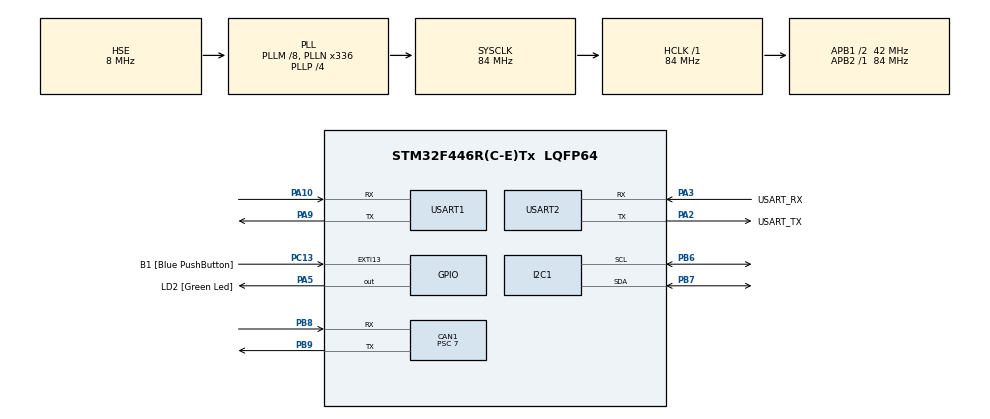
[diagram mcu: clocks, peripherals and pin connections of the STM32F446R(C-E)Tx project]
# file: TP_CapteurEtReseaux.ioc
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CAN1.BS1=CAN_BS1_10TQ
CAN1.BS2=CAN_BS2_1TQ
CAN1.CalculateBaudRate=499999
CAN1.CalculateTimeBit=2000
CAN1.CalculateTimeQuantum=166.66666666666669
CAN1.Prescaler=7
Mcu.Family=STM32F4
Mcu.Name=STM32F446R(C-E)Tx
Mcu.Package=LQFP64
NVIC.PriorityGroup=NVIC_PRIORITYGROUP_0
NVIC.USART2_IRQn=true\:0\:0\:false\:false\:true\:true\:true\:true
PA10.Mode=Asynchronous
PA10.Signal=USART1_RX
PA13.GPIO_Label=TMS
PA13.Mode=Serial_Wire
PA13.Signal=SYS_JTMS-SWDIO
PA14.GPIO_Label=TCK
PA14.Mode=Serial_Wire
PA14.Signal=SYS_JTCK-SWCLK
PA2.GPIO_Label=USART_TX
PA2.Mode=Asynchronous
PA2.Signal=USART2_TX
PA3.GPIO_Label=USART_RX
PA3.Mode=Asynchronous
PA3.Signal=USART2_RX
PA5.GPIO_Label=LD2 [Green Led]
PA5.Signal=GPIO_Output
PA9.Mode=Asynchronous
PA9.Signal=USART1_TX
PB3.GPIO_Label=SWO
PB3.Signal=SYS_JTDO-SWO
PB6.Mode=I2C
PB6.Signal=I2C1_SCL
PB7.Mode=I2C
PB7.Signal=I2C1_SDA
PB8.Mode=CAN_Activate
PB8.Signal=CAN1_RX
PB9.Mode=CAN_Activate
PB9.Signal=CAN1_TX
PC13.GPIO_Label=B1 [Blue PushButton]
PC13.GPIO_ModeDefaultEXTI=GPIO_MODE_IT_FALLING
PC13.Signal=GPXTI13
PC14-OSC32_IN.Mode=LSE-External-Oscillator
PC14-OSC32_IN.Signal=RCC_OSC32_IN
PC15-OSC32_OUT.Mode=LSE-External-Oscillator
PC15-OSC32_OUT.Signal=RCC_OSC32_OUT
PH0-OSC_IN.Mode=HSE-External-Oscillator
PH0-OSC_IN.Signal=RCC_OSC_IN
PH1-OSC_OUT.Mode=HSE-External-Oscillator
PH1-OSC_OUT.Signal=RCC_OSC_OUT
ProjectManager.HeapSize=0x200
ProjectManager.StackSize=0x400
ProjectManager.TargetToolchain=STM32CubeIDE
RCC.48MHZClocksFreq_Value=84000000
RCC.AHBFreq_Value=84000000
RCC.APB1CLKDivider=RCC_HCLK_DIV2
RCC.APB1Freq_Value=42000000
RCC.APB1TimFreq_Value=84000000
RCC.APB2Freq_Value=84000000
RCC.APB2TimFreq_Value=84000000
RCC.CortexFreq_Value=84000000
RCC.FLatency-AdvancedSettings=FLASH_LATENCY_2
RCC.HCLKFreq_Value=84000000
RCC.HSE_VALUE=8000000
RCC.HSI_VALUE=16000000
RCC.PLLM=8
RCC.PLLN=336
RCC.PLLP=RCC_PLLP_DIV4
RCC.PLLSourceVirtual=RCC_PLLSOURCE_HSE
RCC.SYSCLKFreq_VALUE=84000000
RCC.SYSCLKSource=RCC_SYSCLKSOURCE_PLLCLK
RCC.USBFreq_Value=168000000
RCC.VCOOutputFreq_Value=336000000
USART1.VirtualMode=VM_ASYNC
USART2.VirtualMode=VM_ASYNC
board=NUCLEO-F446RE

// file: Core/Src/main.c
/* USER CODE BEGIN Header */
/**
  ******************************************************************************
  * @file           : main.c
  * @brief          : Main program body
  ******************************************************************************
  * @attention
  *
  * Copyright (c) 2023 STMicroelectronics.
  * All rights reserved.
  *
  * This software is licensed under terms that can be found in the LICENSE file
  * in the root directory of this software component.
  * If no LICENSE file comes with this software, it is provided AS-IS.
  *
  ******************************************************************************
  */
/* USER CODE END Header */
#include "main.h"
#include "can.h"
#include "i2c.h"
#include "usart.h"
#include "gpio.h"

/* USER CODE BEGIN Includes */
#include "BMP280/drv_BMP280.h"
#include "shell.h"
#include <stdio.h>
#include "log/logger.h"
#include "motor.h"
/* USER CODE END Includes */

void SystemClock_Config(void);

int main(void)
{

  /* MCU Configuration--------------------------------------------------------*/

  /* Reset of all peripherals, Initializes the Flash interface and the Systick. */
  HAL_Init();

  /* Configure the system clock */
  SystemClock_Config();

  /* Initialize all configured peripherals */
  MX_GPIO_Init();
  MX_I2C1_Init();
  MX_USART2_UART_Init();
  MX_CAN1_Init();
  MX_USART1_UART_Init();
  /* USER CODE BEGIN 2 */
  printf("=======================init done======================\n\r");
	Shell_Init();
	HAL_CAN_Start(&hcan1);
	motorInit();
	uint8_t id;
	if(bmp280GetId(&id) != 0)
		printf("bmp280GetId error");
	else
		printf("bmp id = Ox%02X\n\r", id);
	bmp280Config();
	bmp280Struct_t bmp;
	bmp280GetCalib(&bmp);
	motorSetPosition(90, 1);
	bmp280GetTemperature(&bmp);
	bmp280GetPressure(&bmp);
	BMP280_S32_t temp = bmp280CompensateTInt32(bmp);
	BMP280_S32_t press = bmp280CompensatePInt32(bmp);
	printf("Temperature = %.2f C, Pressure = %.2f Pa", (float)temp/100, (float)press/256);
  /* USER CODE END 2 */

  /* Infinite loop */
  /* USER CODE BEGIN WHILE */
  while (1)
  {
	Shell_Loop();
    /* USER CODE END WHILE */

  }
}

void SystemClock_Config(void)
{
  RCC_OscInitTypeDef RCC_OscInitStruct = {0};
  RCC_ClkInitTypeDef RCC_ClkInitStruct = {0};

  /** Configure the main internal regulator output voltage
  */
  __HAL_RCC_PWR_CLK_ENABLE();
  __HAL_PWR_VOLTAGESCALING_CONFIG(PWR_REGULATOR_VOLTAGE_SCALE3);

  /** Initializes the RCC Oscillators according to the specified parameters
  * in the RCC_OscInitTypeDef structure.
  */
  RCC_OscInitStruct.OscillatorType = RCC_OSCILLATORTYPE_HSE;
  RCC_OscInitStruct.HSEState = RCC_HSE_ON;
  RCC_OscInitStruct.PLL.PLLState = RCC_PLL_ON;
  RCC_OscInitStruct.PLL.PLLSource = RCC_PLLSOURCE_HSE;
  RCC_OscInitStruct.PLL.PLLM = 8;
  RCC_OscInitStruct.PLL.PLLN = 336;
  RCC_OscInitStruct.PLL.PLLP = RCC_PLLP_DIV4;
  RCC_OscInitStruct.PLL.PLLQ = 2;
  RCC_OscInitStruct.PLL.PLLR = 2;
  if (HAL_RCC_OscConfig(&RCC_OscInitStruct) != HAL_OK)
  {
    Error_Handler();
  }

  /** Initializes the CPU, AHB and APB buses clocks
  */
  RCC_ClkInitStruct.ClockType = RCC_CLOCKTYPE_HCLK|RCC_CLOCKTYPE_SYSCLK
                              |RCC_CLOCKTYPE_PCLK1|RCC_CLOCKTYPE_PCLK2;
  RCC_ClkInitStruct.SYSCLKSource = RCC_SYSCLKSOURCE_PLLCLK;
  RCC_ClkInitStruct.AHBCLKDivider = RCC_SYSCLK_DIV1;
  RCC_ClkInitStruct.APB1CLKDivider = RCC_HCLK_DIV2;
  RCC_ClkInitStruct.APB2CLKDivider = RCC_HCLK_DIV1;

  if (HAL_RCC_ClockConfig(&RCC_ClkInitStruct, FLASH_LATENCY_2) != HAL_OK)
  {
    Error_Handler();
  }
}

void Error_Handler(void)
{
  __disable_irq();
  while (1)
  {
  }
}
